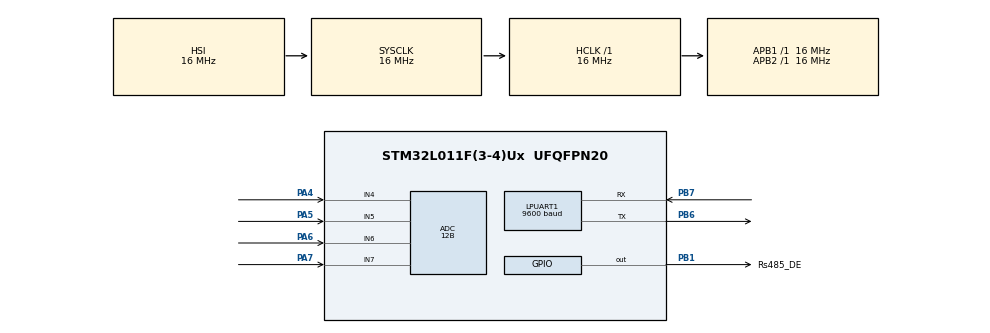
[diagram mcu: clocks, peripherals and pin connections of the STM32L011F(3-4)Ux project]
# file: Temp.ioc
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ADC.ClockPrescaler=ADC_CLOCK_SYNC_PCLK_DIV1
ADC.ContinuousConvMode=DISABLE
ADC.DMAContinuousRequests=DISABLE
ADC.DataAlign=ADC_DATAALIGN_RIGHT
ADC.DiscontinuousConvMode=DISABLE
ADC.EOCSelection=ADC_EOC_SINGLE_CONV
ADC.EnableAnalogWatchDog=false
ADC.ExternalTrigConv=ADC_SOFTWARE_START
ADC.ExternalTrigConvEdge=ADC_EXTERNALTRIGCONVEDGE_NONE
ADC.LowPowerAutoPowerOff=DISABLE
ADC.LowPowerAutoWait=DISABLE
ADC.LowPowerFrequencyMode=DISABLE
ADC.Overrun=ADC_OVR_DATA_PRESERVED
ADC.OversamplingMode=DISABLE
ADC.Resolution=ADC_RESOLUTION_12B
ADC.SamplingTime=ADC_SAMPLETIME_1CYCLE_5
ADC.ScanConvMode=ADC_SCAN_DIRECTION_FORWARD
Dma.ADC.1.Direction=DMA_PERIPH_TO_MEMORY
Dma.ADC.1.Instance=DMA1_Channel1
Dma.ADC.1.MemDataAlignment=DMA_MDATAALIGN_WORD
Dma.ADC.1.MemInc=DMA_MINC_ENABLE
Dma.ADC.1.Mode=DMA_NORMAL
Dma.ADC.1.PeriphDataAlignment=DMA_PDATAALIGN_WORD
Dma.ADC.1.PeriphInc=DMA_PINC_DISABLE
Dma.ADC.1.Priority=DMA_PRIORITY_LOW
Dma.LPUART1_RX.0.Direction=DMA_PERIPH_TO_MEMORY
Dma.LPUART1_RX.0.Instance=DMA1_Channel3
Dma.LPUART1_RX.0.MemDataAlignment=DMA_MDATAALIGN_BYTE
Dma.LPUART1_RX.0.MemInc=DMA_MINC_ENABLE
Dma.LPUART1_RX.0.Mode=DMA_NORMAL
Dma.LPUART1_RX.0.PeriphDataAlignment=DMA_PDATAALIGN_BYTE
Dma.LPUART1_RX.0.PeriphInc=DMA_PINC_DISABLE
Dma.LPUART1_RX.0.Priority=DMA_PRIORITY_LOW
Dma.Request0=LPUART1_RX
Dma.Request1=ADC
LPUART1.BaudRate=9600
LPUART1.WordLength=UART_WORDLENGTH_8B
Mcu.Family=STM32L0
Mcu.Name=STM32L011F(3-4)Ux
Mcu.Package=UFQFPN20
NVIC.AES_RNG_LPUART1_IRQn=true\:0\:0\:false\:true\:true\:3\:true
NVIC.DMA1_Channel1_IRQn=true\:3\:0\:true\:true\:true\:1\:false
NVIC.DMA1_Channel2_3_IRQn=true\:1\:0\:true\:true\:true\:2\:false
PA0-CK_IN.Mode=HSE-External-Clock-Source-for-TinyNemo
PA0-CK_IN.Signal=RCC_CK_IN
PA13.Mode=Serial_Wire
PA13.Signal=SYS_SWDIO
PA14.Mode=Serial_Wire
PA14.Signal=SYS_SWCLK
PA4.Mode=IN4
PA4.Signal=ADC_IN4
PA5.Mode=IN5
PA5.Signal=ADC_IN5
PA6.Mode=IN6
PA6.Signal=ADC_IN6
PA7.Mode=IN7
PA7.Signal=ADC_IN7
PB1.GPIO_Label=Rs485_DE
PB1.Signal=GPIO_Output
PB6.Mode=Asynchronous
PB6.Signal=LPUART1_TX
PB7.Mode=Asynchronous
PB7.Signal=LPUART1_RX
ProjectManager.HeapSize=0x200
ProjectManager.StackSize=0x400
ProjectManager.TargetToolchain=MDK-ARM V5
RCC.AHBFreq_Value=16000000
RCC.APB1Freq_Value=16000000
RCC.APB1TimFreq_Value=16000000
RCC.APB2Freq_Value=16000000
RCC.APB2TimFreq_Value=16000000
RCC.HCLKFreq_Value=16000000
RCC.HSE_VALUE=8000000
RCC.HSI16_VALUE=16000000
RCC.HSI_VALUE=16000000
RCC.LSE_VALUE=32768
RCC.MSI_VALUE=2097000
RCC.SYSCLKFreq_VALUE=16000000
RCC.SYSCLKSource=RCC_SYSCLKSOURCE_HSI
RCC.VCOOutputFreq_Value=48000000
VP_ADC_Vref_Input.Mode=IN-Vrefint
board=Temp

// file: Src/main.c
/**
  ******************************************************************************
  * File Name          : main.c
  * Description        : Main program body
  ******************************************************************************
  ** This notice applies to any and all portions of this file
  * that are not between comment pairs USER CODE BEGIN and
  * USER CODE END. Other portions of this file, whether
  * inserted by the user or by software development tools
  * are owned by their respective copyright owners.
  *
  * COPYRIGHT(c) 2018 STMicroelectronics
  *
  * Redistribution and use in source and binary forms, with or without modification,
  * are permitted provided that the following conditions are met:
  *   1. Redistributions of source code must retain the above copyright notice,
  *      this list of conditions and the following disclaimer.
  *   2. Redistributions in binary form must reproduce the above copyright notice,
  *      this list of conditions and the following disclaimer in the documentation
  *      and/or other materials provided with the distribution.
  *   3. Neither the name of STMicroelectronics nor the names of its contributors
  *      may be used to endorse or promote products derived from this software
  *      without specific prior written permission.
  *
  * THIS SOFTWARE IS PROVIDED BY THE COPYRIGHT HOLDERS AND CONTRIBUTORS "AS IS"
  * AND ANY EXPRESS OR IMPLIED WARRANTIES, INCLUDING, BUT NOT LIMITED TO, THE
  * IMPLIED WARRANTIES OF MERCHANTABILITY AND FITNESS FOR A PARTICULAR PURPOSE ARE
  * DISCLAIMED. IN NO EVENT SHALL THE COPYRIGHT HOLDER OR CONTRIBUTORS BE LIABLE
  * FOR ANY DIRECT, INDIRECT, INCIDENTAL, SPECIAL, EXEMPLARY, OR CONSEQUENTIAL
  * DAMAGES (INCLUDING, BUT NOT LIMITED TO, PROCUREMENT OF SUBSTITUTE GOODS OR
  * SERVICES; LOSS OF USE, DATA, OR PROFITS; OR BUSINESS INTERRUPTION) HOWEVER
  * CAUSED AND ON ANY THEORY OF LIABILITY, WHETHER IN CONTRACT, STRICT LIABILITY,
  * OR TORT (INCLUDING NEGLIGENCE OR OTHERWISE) ARISING IN ANY WAY OUT OF THE USE
  * OF THIS SOFTWARE, EVEN IF ADVISED OF THE POSSIBILITY OF SUCH DAMAGE.
  *
  ******************************************************************************
  */

#include "main.h"
#include "stm32l0xx_hal.h"
#include "adc.h"
#include "dma.h"
#include "usart.h"
#include "gpio.h"

/* USER CODE BEGIN Includes */
#include <string.h>

#include "userapp.h"

/* USER CODE END Includes */

/* USER CODE BEGIN PV */
/* Private variables ---------------------------------------------------------*/

/* USER CODE END PV */

void SystemClock_Config(void);
static void MX_NVIC_Init(void);

/* USER CODE BEGIN PFP */
/* Private function prototypes -----------------------------------------------*/

/* USER CODE END PFP */

/* USER CODE BEGIN 0 */

#define 	USEINTVREF		0

/***********采集数据经过处理，放大10倍*************/
uint16_t Rs485DataBuf[2] = {0};

/***********采集数据电压:MV*************/
uint16_t Rs485RefBuf[2]  = {0};

void Delay(uint32_t Delay);

/* USER CODE END 0 */

int main(void)
{

  /* USER CODE BEGIN 1 */
	uint16_t adc_data[5] = {0};
	float    Adcdata = 0;
	uint32_t Vchannel = 0;

  /* USER CODE END 1 */

  /* MCU Configuration----------------------------------------------------------*/

  /* Reset of all peripherals, Initializes the Flash interface and the Systick. */
  HAL_Init();

  /* Configure the system clock */
  SystemClock_Config();

  /* Initialize all configured peripherals */
  MX_GPIO_Init();
  MX_DMA_Init();
  MX_LPUART1_UART_Init();
  MX_ADC_Init();

  /* Initialize interrupts */
  MX_NVIC_Init();

  /* USER CODE BEGIN 2 */

	HAL_UART_Receive_DMA(&hlpuart1,UART_RX_LPUART1.USART_RX_BUF,MAXSIZE);
	__HAL_UART_ENABLE_IT(&hlpuart1,UART_IT_IDLE);

	Rs485Init(  );

  /* USER CODE END 2 */

  /* Infinite loop */
  while (1)
  {

  /* USER CODE BEGIN 3 */

	  adc_data[1] = GetAdcData(ADC_CHANNEL_VREFINT, BUFLEN); //内部采样
		adc_data[2] = GetAdcData(ADC_CHANNEL_7, BUFLEN);  ///外部基准
		adc_data[3] = GetAdcData(ADC_CHANNEL_6, BUFLEN); ///温度
		adc_data[4] = GetAdcData(ADC_CHANNEL_5, BUFLEN); ///湿度

#if USEEXTVREF

		adc_data[0] = (*VREFINT_CAL_ADDR); ///内部基准
		uint16_t temp = VREFINT_CAL_VREF * adc_data[0];

		if(UART_RX_LPUART1.USART_RX_Len)
		{
			RS485_TO_TX(  );

			printf("RX_NUM = %d  data = %s\r\n",UART_RX_LPUART1.USART_RX_Len, UART_RX_LPUART1.USART_RX_BUF); //把接收到的字节再发送到串口1

			memset(UART_RX_LPUART1.USART_RX_BUF, 0, UART_RX_LPUART1.USART_RX_Len);

			printf("VREFINT_CAL = %d 内部采样 = %d, 外部基准 = %d 温度 = %d 湿度 = %d\r\n",adc_data[0], adc_data[1],adc_data[2],adc_data[3],adc_data[4]);

			printf("外部基准 = %.4f \r\n", (float)(temp*adc_data[2])/(adc_data[1] * VFULL));

			printf("温度 = %.4f°C\r\n", (float)(temp*adc_data[3])/(adc_data[1] * VFULL) * 100);

			printf("湿度 = %.4f \r\n", (float)(temp*adc_data[4])/(adc_data[1] * VFULL));

			UART_RX_LPUART1.USART_RX_Len=0;

			Rs485Handler(  );
			RS485_TO_RX(  );
		}

#else

//			if(UART_RX_LPUART1.USART_RX_Len)
		{
			RS485_TO_TX(  );

//			printf("RX_NUM = %d  data = %s\r\n",UART_RX_LPUART1.USART_RX_Len, UART_RX_LPUART1.USART_RX_BUF); //把接收到的字节再发送到串口1

			Vchannel = VFULL * adc_data[1] * VREFEXT_CAL_VREF;

			Adcdata = (VREFINT_CAL_VREF * adc_data[2]);

//			printf("Vchannel = %d 内部采样 = %d, 外部基准 = %d Adcdata %.2f\r\n",Vchannel, adc_data[1],adc_data[2],Adcdata);

			Adcdata = (float)(Vchannel/Adcdata);

			printf("VREFINT_CAL = %.2f 内部采样 = %d, 外部基准 = %d 温度 = %d 湿度 = %d\r\n",Adcdata, adc_data[1],adc_data[2],adc_data[3],adc_data[4]);

			float temp = VREFINT_CAL_VREF * Adcdata;

			///采集电压：
			Rs485RefBuf[0] = (temp*adc_data[3])/(adc_data[1] * VFULL) * 1000;
			Rs485RefBuf[1] = (temp*adc_data[4])/(adc_data[1] * VFULL) * 1000;

			///放大10倍
			Rs485DataBuf[0] = (temp*adc_data[3])/(adc_data[1] * VFULL) * 1000;

			///湿度处理待定

			printf("外部基准 = %.4f \r\n", (float)(temp*adc_data[2])/(adc_data[1] * VFULL));

			printf("温度 = %.2f°C\r\n", (float)(temp*adc_data[3])/(adc_data[1] * VFULL) * 100);

			printf("湿度 = %.4f \r\n", (float)(temp*adc_data[4])/(adc_data[1] * VFULL));

//			Rs485RevceHandle(  );
//
//			RS485_TO_RX(  );
		}

#endif

		Delay(2000);

  }
  /* USER CODE END 3 */

}

/** System Clock Configuration
*/
void SystemClock_Config(void)
{

  RCC_OscInitTypeDef RCC_OscInitStruct;
  RCC_ClkInitTypeDef RCC_ClkInitStruct;
  RCC_PeriphCLKInitTypeDef PeriphClkInit;

    /**Configure the main internal regulator output voltage
    */
  __HAL_PWR_VOLTAGESCALING_CONFIG(PWR_REGULATOR_VOLTAGE_SCALE1);

    /**Initializes the CPU, AHB and APB busses clocks
    */
  RCC_OscInitStruct.OscillatorType = RCC_OSCILLATORTYPE_HSI;
  RCC_OscInitStruct.HSIState = RCC_HSI_ON;
  RCC_OscInitStruct.HSICalibrationValue = 16;
  RCC_OscInitStruct.PLL.PLLState = RCC_PLL_NONE;
  if (HAL_RCC_OscConfig(&RCC_OscInitStruct) != HAL_OK)
  {
    _Error_Handler(__FILE__, __LINE__);
  }

    /**Initializes the CPU, AHB and APB busses clocks
    */
  RCC_ClkInitStruct.ClockType = RCC_CLOCKTYPE_HCLK|RCC_CLOCKTYPE_SYSCLK
                              |RCC_CLOCKTYPE_PCLK1|RCC_CLOCKTYPE_PCLK2;
  RCC_ClkInitStruct.SYSCLKSource = RCC_SYSCLKSOURCE_HSI;
  RCC_ClkInitStruct.AHBCLKDivider = RCC_SYSCLK_DIV1;
  RCC_ClkInitStruct.APB1CLKDivider = RCC_HCLK_DIV1;
  RCC_ClkInitStruct.APB2CLKDivider = RCC_HCLK_DIV1;

  if (HAL_RCC_ClockConfig(&RCC_ClkInitStruct, FLASH_LATENCY_0) != HAL_OK)
  {
    _Error_Handler(__FILE__, __LINE__);
  }

  PeriphClkInit.PeriphClockSelection = RCC_PERIPHCLK_LPUART1;
  PeriphClkInit.Lpuart1ClockSelection = RCC_LPUART1CLKSOURCE_PCLK1;
  if (HAL_RCCEx_PeriphCLKConfig(&PeriphClkInit) != HAL_OK)
  {
    _Error_Handler(__FILE__, __LINE__);
  }

    /**Configure the Systick interrupt time
    */
  HAL_SYSTICK_Config(HAL_RCC_GetHCLKFreq()/1000);

    /**Configure the Systick
    */
  HAL_SYSTICK_CLKSourceConfig(SYSTICK_CLKSOURCE_HCLK);

  /* SysTick_IRQn interrupt configuration */
  HAL_NVIC_SetPriority(SysTick_IRQn, 0, 0);
}

/** NVIC Configuration
*/
static void MX_NVIC_Init(void)
{
  /* DMA1_Channel1_IRQn interrupt configuration */
  HAL_NVIC_SetPriority(DMA1_Channel1_IRQn, 3, 0);
  HAL_NVIC_EnableIRQ(DMA1_Channel1_IRQn);
  /* DMA1_Channel2_3_IRQn interrupt configuration */
  HAL_NVIC_SetPriority(DMA1_Channel2_3_IRQn, 1, 0);
  HAL_NVIC_EnableIRQ(DMA1_Channel2_3_IRQn);
  /* AES_RNG_LPUART1_IRQn interrupt configuration */
  HAL_NVIC_SetPriority(AES_RNG_LPUART1_IRQn, 2, 0);
  HAL_NVIC_EnableIRQ(AES_RNG_LPUART1_IRQn);
}

/* USER CODE BEGIN 4 */

void Delay(uint32_t Delay)
{
	uint32_t tickstart = 0U;
  tickstart = HAL_GetTick();
  while((HAL_GetTick() - tickstart) < Delay)
  {
		__WFI();
  }
}

/* USER CODE END 4 */

void _Error_Handler(char * file, int line)
{
  while(1)
  {
  }
}

/************************ (C) COPYRIGHT STMicroelectronics *****END OF FILE****/
